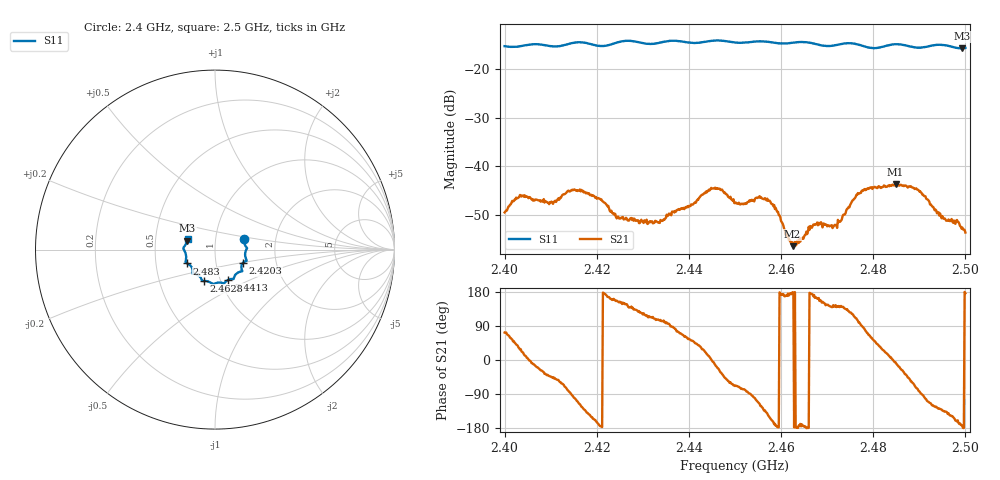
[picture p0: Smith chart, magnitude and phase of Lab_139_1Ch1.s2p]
# Hz S RI R 50
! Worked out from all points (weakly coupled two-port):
!   601 points, 2.4 GHz to 2.5 GHz, reference 50 ohm
!   highest |S21| = -43.67 dB at 2.4848 GHz (marker M1); lowest = -56.3 dB at 2.4625 GHz (marker M2)
!   lowest |S11| = -15.8 dB at 2.4993 GHz (marker M3), VSWR 1.39, Z = 36.5 + j3.7 ohm
!   |S11| at or under -10 dB: start of sweep to end of sweep
!   S12 and S22 are empty: the file has one direction only
!   S11 on the Smith chart (normalised r, x): 2.4 GHz: 1.37, +0.16; 2.4203 GHz: 1.35, -0.21; 2.4413 GHz: 1.09, -0.38; 2.4628 GHz: 0.83, -0.30; 2.483 GHz: 0.72, -0.11; 2.5 GHz: 0.73, +0.09
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2.4e9  0.1607 0.0571  0.00102 0.00322  0 0  0 0
2.4035e9  0.1692 0.0214  0.00445 0.00243  0 0  0 0
2.41e9  0.1703 -0.0102  0.00311 -0.00296  0 0  0 0
2.416667e9  0.1764 -0.0615  -0.00315 -0.00482  0 0  0 0
2.420333e9  0.1554 -0.074  -0.00466 -0.000929  0 0  0 0
2.424667e9  0.1497 -0.1128  -0.00274 0.00136  0 0  0 0
2.433333e9  0.1081 -0.1484  -0.00078 0.00255  0 0  0 0
2.441333e9  0.0745 -0.1682  0.00307 0.003  0 0  0 0
2.445333e9  0.0514 -0.1873  0.00593 -0.000579  0 0  0 0
2.45e9  0.0294 -0.1837  0.00153 -0.00391  0 0  0 0
2.457167e9  -0.0177 -0.188  -0.00366 -0.00252  0 0  0 0
2.4625e9  -0.0607 -0.1747  -0.00153 2.67e-05  0 0  0 0
2.462833e9  -0.063 -0.1747  -0.00163 -5.81e-05  0 0  0 0
2.466667e9  -0.0741 -0.1676  -0.00234 0.000232  0 0  0 0
2.471667e9  -0.108 -0.1363  -0.00196 0.0016  0 0  0 0
2.477167e9  -0.1242 -0.1232  -0.000498 0.00534  0 0  0 0
2.483e9  -0.1549 -0.0768  0.00595 0.00174  0 0  0 0
2.483333e9  -0.1572 -0.076  0.00627 0.00133  0 0  0 0
2.484833e9  -0.1633 -0.0721  0.00652 -0.000677  0 0  0 0
2.489667e9  -0.1613 -0.0326  0.00129 -0.00564  0 0  0 0
2.499333e9  -0.1542 0.0494  -0.00236 -0.00021  0 0  0 0
2.5e9  -0.1525 0.0584  -0.0021 0.000143  0 0  0 0
